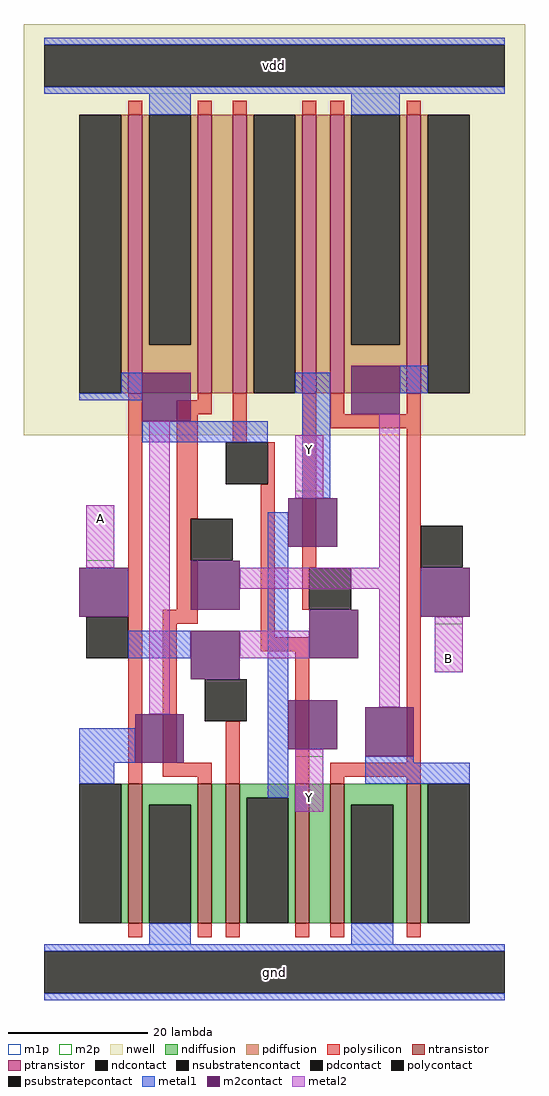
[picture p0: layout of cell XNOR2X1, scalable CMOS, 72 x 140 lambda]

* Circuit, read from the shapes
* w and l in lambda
.subckt XNOR2X1 A B Y vdd gnd
M1 gnd A n1 gnd nfet w=20 l=2
M2 n2 n3 gnd gnd nfet w=20 l=2
M3 Y A n2 gnd nfet w=20 l=2
M4 n4 n1 Y gnd nfet w=20 l=2
M5 gnd B n4 gnd nfet w=20 l=2
M6 n3 B gnd gnd nfet w=20 l=2
M7 vdd A n1 vdd pfet w=40 l=2
M8 n5 n3 vdd vdd pfet w=40 l=2
M9 Y n1 n5 vdd pfet w=40 l=2
M10 n6 A Y vdd pfet w=40 l=2
M11 vdd B n6 vdd pfet w=40 l=2
M12 n3 B vdd vdd pfet w=40 l=2
.ends

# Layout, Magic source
magic
tech scmos
<< nwell >>
rect -6 77 66 136
<< ntransistor >>
rect 9 7 11 27
rect 19 7 21 27
rect 23 7 25 27
rect 33 7 35 27
rect 38 7 40 27
rect 49 7 51 27
<< ptransistor >>
rect 9 83 11 123
rect 19 83 21 123
rect 24 83 26 123
rect 34 83 36 123
rect 38 83 40 123
rect 49 83 51 123
<< ndiffusion >>
rect 8 7 9 27
rect 11 24 19 27
rect 11 7 12 24
rect 18 7 19 24
rect 21 7 23 27
rect 25 25 33 27
rect 25 7 26 25
rect 32 7 33 25
rect 35 7 38 27
rect 40 24 49 27
rect 40 7 41 24
rect 47 7 49 24
rect 51 7 52 27
<< pdiffusion >>
rect 8 83 9 123
rect 11 90 12 123
rect 18 90 19 123
rect 11 83 19 90
rect 21 83 24 123
rect 26 83 27 123
rect 33 83 34 123
rect 36 83 38 123
rect 40 90 41 123
rect 48 90 49 123
rect 40 83 49 90
rect 51 83 52 123
<< ndcontact >>
rect 2 7 8 27
rect 12 7 18 24
rect 26 7 32 25
rect 41 7 47 24
rect 52 7 58 27
<< pdcontact >>
rect 2 83 8 123
rect 12 90 18 123
rect 27 83 33 123
rect 41 90 48 123
rect 52 83 58 123
<< psubstratepcontact >>
rect -3 -3 63 3
<< nsubstratencontact >>
rect -3 127 63 133
<< polysilicon >>
rect 9 123 11 125
rect 19 123 21 125
rect 24 123 26 125
rect 34 123 36 125
rect 38 123 40 125
rect 49 123 51 125
rect 9 27 11 83
rect 19 82 21 83
rect 16 80 21 82
rect 16 65 19 80
rect 24 76 26 83
rect 29 70 30 76
rect 16 59 18 65
rect 16 52 19 59
rect 14 50 19 52
rect 14 30 16 50
rect 28 48 30 70
rect 34 58 36 83
rect 38 80 40 83
rect 49 80 51 83
rect 38 78 51 80
rect 34 52 35 58
rect 28 46 35 48
rect 14 28 21 30
rect 19 27 21 28
rect 23 27 25 36
rect 33 27 35 46
rect 49 30 51 78
rect 38 28 51 30
rect 38 27 40 28
rect 49 27 51 28
rect 9 5 11 7
rect 19 5 21 7
rect 23 5 25 7
rect 33 5 35 7
rect 38 5 40 7
rect 49 5 51 7
<< polycontact >>
rect 3 45 9 51
rect 23 70 29 76
rect 18 59 24 65
rect 35 52 41 58
rect 20 36 26 42
rect 51 58 57 64
<< metal1 >>
rect -3 133 63 134
rect -3 126 63 127
rect 12 123 18 126
rect 41 123 48 126
rect 8 83 11 86
rect 2 82 11 83
rect 33 83 38 86
rect 11 76 29 79
rect 34 68 38 83
rect 48 83 52 87
rect 9 45 18 49
rect 2 30 10 35
rect 2 27 7 30
rect 29 25 32 66
rect 43 30 50 31
rect 43 27 58 30
rect 12 4 18 7
rect 41 4 47 7
rect -3 3 63 4
rect -3 -4 63 -3
<< m2contact >>
rect 11 79 18 86
rect 41 80 48 87
rect 2 51 9 58
rect 18 52 25 59
rect 18 42 25 49
rect 10 30 17 37
rect 32 61 39 68
rect 35 45 42 52
rect 51 51 58 58
rect 32 32 39 39
rect 43 31 50 38
<< metal2 >>
rect 3 58 7 67
rect 12 37 15 79
rect 33 68 37 77
rect 45 58 48 80
rect 25 55 48 58
rect 25 45 35 49
rect 45 38 48 55
rect 53 43 57 51
rect 33 23 37 32
<< m1p >>
rect -3 126 63 134
rect -3 -4 63 4
<< m2p >>
rect 33 69 37 77
rect 3 59 7 67
rect 53 43 57 50
rect 33 23 37 31
<< labels >>
rlabel metal2 5 65 5 65 1 A
port 1 n signal input
rlabel metal2 55 45 55 45 5 B
port 2 n signal input
rlabel metal2 35 75 35 75 1 Y
port 3 n signal output
rlabel metal1 -3 126 63 134 0 vdd
port 4 nsew power bidirectional abutment
rlabel metal1 -3 -4 63 4 0 gnd
port 5 nsew ground bidirectional abutment
rlabel metal2 35 25 35 25 1 Y
port 3 n signal output
<< properties >>
string FIXED_BBOX 0 0 60 130
string LEFclass CORE
string LEFsite core
string LEFsymmetry X Y
<< end >>
